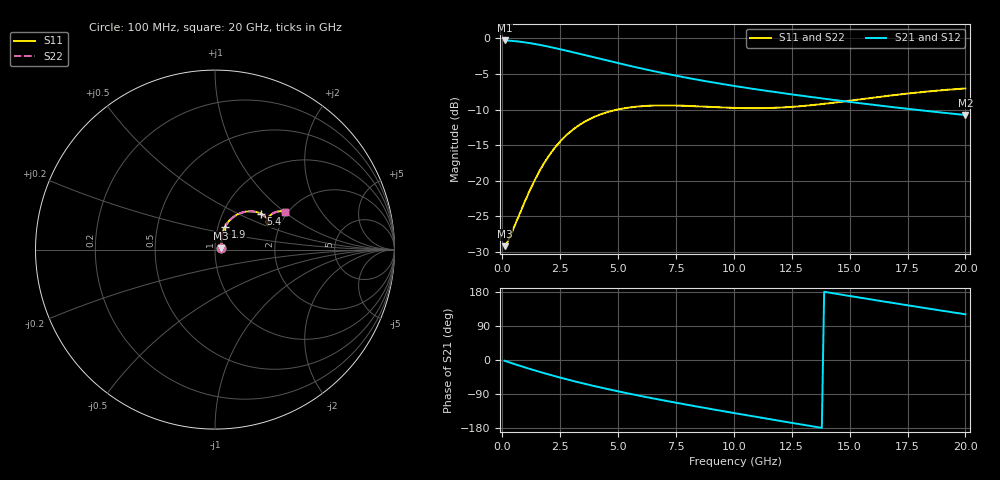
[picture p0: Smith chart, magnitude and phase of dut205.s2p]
! Touchstone file exported from HFSS 2023.1.0
!  File:  D:/Users/fzz/RDL_TSV/temp_RDL_TSV_205_1778756717.aedt
!  Generated:  7:15:58 %x4E0B%x5348  5%x6708 14, 2026
!  Design:  RDL_TSV
!  Project:  temp_RDL_TSV_205_1778756717
!  Setup:  Setup1
!  Solution:  Sweep
! Variables:
!  dtsv = 14.17um
!  hbump = 3um
!  htsv = 60.02um
!  ldown = 291.33um
!  lrdl = 627.4um
!  p = 40
!  p1 = 43.64um
!  rhole = 10um
!  subl = 3383.59um
!  t = 450um
!  tdown = 3.1um
!  trdl = 3.09um
!  viad = 10um
!  wdown = 10.9um
!  wrdl = 10.92um
!  xbump = 18um
# GHz S MA R 50.000000
! Terminal data exported
! Port[1] = TM1_1_T1
! Port[2] = TM1_4_T1
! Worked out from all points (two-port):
!   200 points, 100 MHz to 20 GHz, reference 50 ohm
!   highest |S21| = -0.30 dB at 100 MHz (marker M1); lowest = -10.8 dB at 20 GHz (marker M2)
!   |S21| within 3 dB of the highest: start of sweep to 4.761 GHz
!   lowest |S11| = -29.2 dB at 100 MHz (marker M3), VSWR 1.07, Z = 53.5 + j0.678 ohm
!   |S11| at or under -10 dB: start of sweep to 4.989 GHz
!   |S22| runs from -29.2 to -7.0 dB; largest |S21 - S12| = 6.3e-14
!   S11 on the Smith chart (normalised r, x): 100 MHz: 1.07, +0.01; 1.9 GHz: 1.08, +0.28; 5.4 GHz: 1.51, +0.67; 20 GHz: 1.94, +1.01
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0.1  0.03471 10.5  0.9655 -2.1  0.9655 -2.1  0.03471 10.5
! Gamma 0 0 0 0
! Port Impedance 50 0 50 0
0.3  0.03946 28.1  0.9624 -6.2  0.9624 -6.2  0.03947 28.1
0.9  0.06693 56.7  0.9401 -18.1  0.9401 -18.1  0.06694 56.7
1.4  0.1009 65.2  0.9126 -27.5  0.9126 -27.5  0.1009 65.1
1.9  0.1406 66.2  0.8799 -36.4  0.8799 -36.4  0.1406 66.1
2.2  0.1649 64.9  0.859 -41.5  0.859 -41.5  0.1649 64.8
2.6  0.1962 62.0  0.8304 -48.1  0.8304 -48.1  0.1962 62.0
3  0.225 58.5  0.8017 -54.4  0.8017 -54.4  0.2249 58.4
3.5  0.2563 53.8  0.7664 -62.0  0.7664 -62.0  0.2561 53.7
4.4  0.2982 45.6  0.7061 -74.7  0.7061 -74.7  0.2979 45.5
5.4  0.3251 37.9  0.6462 -87.8  0.6462 -87.8  0.3247 37.8
6.1  0.3343 33.6  0.6091 -96.5  0.6091 -96.5  0.3338 33.5
6.8  0.3377 30.2  0.5759 -104.7  0.5759 -104.7  0.3371 30.1
7.6  0.3368 27.3  0.5422 -113.9  0.5422 -113.9  0.3362 27.3
8.4  0.333 25.6  0.5126 -122.7  0.5126 -122.7  0.3323 25.6
10.1  0.3242 25.1  0.4604 -141.0  0.4604 -141.0  0.3234 25.1
11.7  0.3246 27.3  0.421 -157.6  0.421 -157.6  0.3239 27.3
13.4  0.3396 30.2  0.3859 -175.0  0.3859 -175.0  0.339 30.3
15.1  0.3662 31.9  0.3558 167.9  0.3558 167.9  0.3658 32.0
16.7  0.3952 31.7  0.3309 152.1  0.3309 152.1  0.395 31.8
18.3  0.4221 30.4  0.3092 136.7  0.3092 136.7  0.4219 30.5
20  0.4443 28.2  0.2893 120.6  0.2893 120.6  0.4443 28.3
